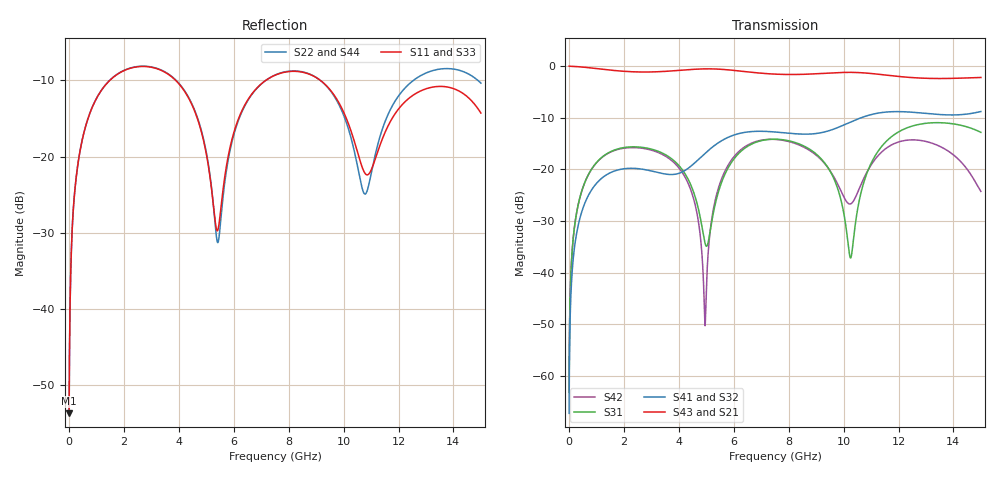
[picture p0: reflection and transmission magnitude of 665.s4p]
! Created with skrf 1.8.0 (http://scikit-rf.org).
# GHz S RI R 50.0
!freq ReS11 ImS11 ReS12 ImS12 ReS13 ImS13
! ReS14 ImS14
! ReS21 ImS21 ReS22 ImS22 ReS23 ImS23
! ReS24 ImS24
! ReS31 ImS31 ReS32 ImS32 ReS33 ImS33
! ReS34 ImS34
! ReS41 ImS41 ReS42 ImS42 ReS43 ImS43
! ReS44 ImS44
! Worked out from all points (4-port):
!   2499 points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, 5 MHz to 15 GHz, reference 50 ohm
!   strongest paths, dB at 5 MHz, 3.476 GHz, 7.19 GHz, 11.1 GHz, 15 GHz:
!     S43: 0.0, -1.0, -1.5, -1.5, -2.2
!     S21: 0.0, -1.0, -1.5, -1.5, -2.2
!     S41: -67.2, -20.9, -12.6, -9.3, -8.8
!     S32: -67.2, -20.9, -12.7, -9.3, -8.8
!     S31: -63.2, -17.0, -14.3, -17.8, -12.8
!     S42: -63.2, -17.3, -14.2, -18.4, -24.3
!   lowest |S11| = -53.6 dB at 5 MHz (marker M1), VSWR 1.00, Z = 50.2 + j0.126 ohm
!   |S11| at or under -10 dB: start of sweep to 1.492 GHz; 3.879 GHz to 7.175 GHz (3.296 GHz wide, 59.6 % of centre); 9.147 GHz to end of sweep
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0.005  0.00166 0.00125  0.9983 -0.00323  8.45e-05 0.00069  -8.18e-05 -0.000427
       0.9983 -0.00323  0.00166 0.00125  -8.18e-05 -0.000427  8.44e-05 0.00069
       8.45e-05 0.00069  -8.18e-05 -0.000427  0.00166 0.00125  0.9983 -0.00323
       -8.18e-05 -0.000427  8.44e-05 0.00069  0.9983 -0.00323  0.00166 0.00125
0.3626511  0.0307 0.0939  0.9575 -0.2307  0.0155 0.0464  -0.0126 -0.0282
           0.9575 -0.2307  0.0308 0.0939  -0.0126 -0.0282  0.0151 0.0466
           0.0155 0.0464  -0.0126 -0.0282  0.0307 0.0939  0.9575 -0.2307
           -0.0126 -0.0282  0.0151 0.0466  0.9575 -0.2307  0.0308 0.0939
1.619545  0.2843 0.1702  0.5131 -0.7491  0.1418 0.0565  -0.0957 0.000257
          0.5131 -0.7491  0.2859 0.169  -0.0957 0.000221  0.1375 0.0629
          0.1418 0.0565  -0.0957 0.000221  0.2843 0.1702  0.5132 -0.7491
          -0.0957 0.000257  0.1375 0.0629  0.5132 -0.7491  0.2859 0.169
4.952063  0.0583 -0.0996  -0.8812 -0.3269  -0.0171 -0.00928  -0.0451 0.1354
          -0.8812 -0.3269  0.0536 -0.1051  -0.0453 0.1353  0.00307 9.54e-05
          -0.0171 -0.00928  -0.0453 0.1353  0.0595 -0.0988  -0.8812 -0.327
          -0.0451 0.1354  0.00307 9.54e-05  -0.8812 -0.327  0.0521 -0.1052
8.434764  0.3567 -0.0397  0.0133 0.8309  0.1485 -0.0908  0.208 -0.0712
          0.0133 0.8309  0.3575 -0.0486  0.2073 -0.0696  0.1471 -0.085
          0.1485 -0.0908  0.2073 -0.0696  0.3563 -0.0436  0.0128 0.8311
          0.208 -0.0712  0.1471 -0.085  0.0128 0.8311  0.3568 -0.044
10.25427  0.1078 -0.1043  0.7545 0.4319  -0.0139 0.000438  0.1358 -0.2534
          0.7545 0.4319  0.0884 -0.1033  0.138 -0.2522  -0.0458 -0.00712
          -0.0139 0.000438  0.138 -0.2522  0.1043 -0.1051  0.7545 0.4325
          0.1358 -0.2534  -0.0458 -0.00712  0.7545 0.4325  0.0909 -0.1002
15  0.1803 -0.0681  -0.3975 -0.667  -0.045 -0.2239  -0.2981 0.2077
    -0.3975 -0.667  0.2394 -0.185  -0.3006 0.204  0.0612 0.00202
    -0.045 -0.2239  -0.3006 0.204  0.1805 -0.0756  -0.3938 -0.6684
    -0.2981 0.2077  0.0612 0.00202  -0.3938 -0.6684  0.2461 -0.1815
